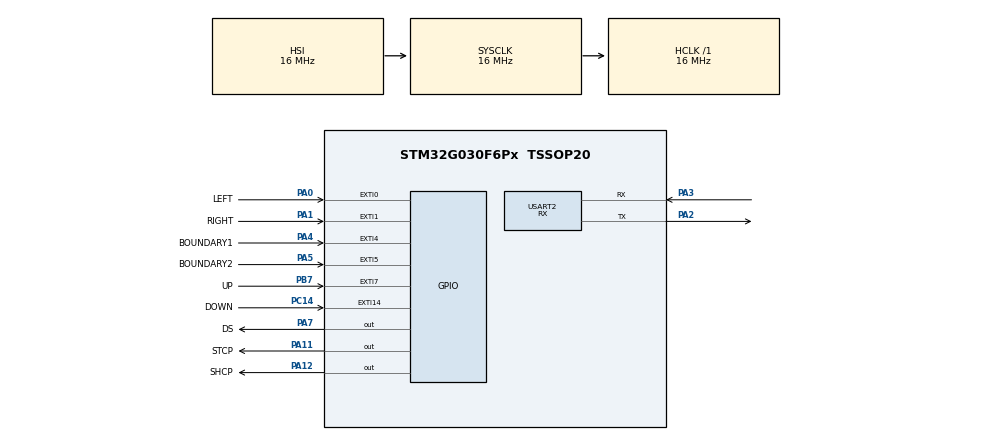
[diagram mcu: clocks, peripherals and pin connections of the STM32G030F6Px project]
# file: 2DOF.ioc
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Mcu.Family=STM32G0
Mcu.Name=STM32G030F6Px
Mcu.Package=TSSOP20
NVIC.USART2_IRQn=true\:0\:0\:false\:false\:true\:true\:true\:true
PA0.GPIO_Label=LEFT
PA0.GPIO_ModeDefaultEXTI=GPIO_MODE_IT_FALLING
PA0.GPIO_PuPd=GPIO_PULLUP
PA0.Signal=GPXTI0
PA1.GPIO_Label=RIGHT
PA1.GPIO_ModeDefaultEXTI=GPIO_MODE_IT_FALLING
PA1.GPIO_PuPd=GPIO_PULLUP
PA1.Signal=GPXTI1
PA11\ [PA9].GPIO_Label=STCP
PA11\ [PA9].Signal=GPIO_Output
PA12\ [PA10].GPIO_Label=SHCP
PA12\ [PA10].Signal=GPIO_Output
PA13.Mode=Serial_Wire
PA13.Signal=SYS_SWDIO
PA14-BOOT0.Mode=Serial_Wire
PA14-BOOT0.Signal=SYS_SWCLK
PA14-BOOT0__PA15.StandardMode=true
PA2.Mode=Asynchronous
PA2.Signal=USART2_TX
PA3.Mode=Asynchronous
PA3.Signal=USART2_RX
PA4.GPIO_Label=BOUNDARY1
PA4.GPIO_ModeDefaultEXTI=GPIO_MODE_IT_FALLING
PA4.GPIO_PuPd=GPIO_PULLUP
PA4.Signal=GPXTI4
PA5.GPIO_Label=BOUNDARY2
PA5.GPIO_ModeDefaultEXTI=GPIO_MODE_IT_FALLING
PA5.GPIO_PuPd=GPIO_PULLUP
PA5.Signal=GPXTI5
PA7.GPIO_Label=DS
PA7.Signal=GPIO_Output
PB0__PB1__PB2__PA8.StandardMode=true
PB3__PB4__PB5__PB6.StandardMode=true
PB7.GPIO_Label=UP
PB7.GPIO_ModeDefaultEXTI=GPIO_MODE_IT_FALLING
PB7.GPIO_PuPd=GPIO_PULLUP
PB7.Signal=GPXTI7
PB7__PB8.StandardMode=true
PC14-OSC32_IN\ (PC14).GPIO_Label=DOWN
PC14-OSC32_IN\ (PC14).GPIO_ModeDefaultEXTI=GPIO_MODE_IT_FALLING
PC14-OSC32_IN\ (PC14).GPIO_PuPd=GPIO_PULLUP
PC14-OSC32_IN\ (PC14).Signal=GPXTI14
PC14-OSC32_IN\ (PC14)__PB9.StandardMode=true
ProjectManager.HeapSize=0x200
ProjectManager.StackSize=0x400
ProjectManager.TargetToolchain=STM32CubeIDE
RCC.ADCFreq_Value=16000000
RCC.AHBFreq_Value=16000000
RCC.CortexFreq_Value=16000000
RCC.EXTERNAL_CLOCK_VALUE=12288000
RCC.HCLKFreq_Value=16000000
RCC.HSE_VALUE=8000000
RCC.HSI_VALUE=16000000
RCC.LSE_VALUE=32768
RCC.SYSCLKFreq_VALUE=16000000
RCC.VCOOutputFreq_Value=128000000
USART2.Mode=MODE_RX
USART2.VirtualMode-Asynchronous=VM_ASYNC
board=custom

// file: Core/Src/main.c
/* USER CODE BEGIN Header */
/**
  ******************************************************************************
  * @file           : main.c
  * @brief          : Main program body
  ******************************************************************************
  * @attention
  *
  * Copyright (c) 2024 STMicroelectronics.
  * All rights reserved.
  *
  * This software is licensed under terms that can be found in the LICENSE file
  * in the root directory of this software component.
  * If no LICENSE file comes with this software, it is provided AS-IS.
  *
  ******************************************************************************
  */
/* USER CODE END Header */
#include "main.h"

/* USER CODE BEGIN Includes */
#include "motor.h"
/* USER CODE END Includes */

UART_HandleTypeDef huart2;

/* USER CODE BEGIN PV */

uint8_t rx_buffer[16];

/* USER CODE END PV */

void SystemClock_Config(void);
static void MX_GPIO_Init(void);
static void MX_USART2_UART_Init(void);

int main(void)
{

  /* USER CODE BEGIN 1 */

	// initialize the axis to zero
	zero();

	// receiving 2 double value
  /* USER CODE END 1 */

  /* MCU Configuration--------------------------------------------------------*/

  /* Reset of all peripherals, Initializes the Flash interface and the Systick. */
  HAL_Init();

  /* Configure the system clock */
  SystemClock_Config();

  /* Initialize all configured peripherals */
  MX_GPIO_Init();
  MX_USART2_UART_Init();

  /* Infinite loop */
  while (1)
  {

  }
}

void SystemClock_Config(void)
{
  RCC_OscInitTypeDef RCC_OscInitStruct = {0};
  RCC_ClkInitTypeDef RCC_ClkInitStruct = {0};

  /** Configure the main internal regulator output voltage
  */
  HAL_PWREx_ControlVoltageScaling(PWR_REGULATOR_VOLTAGE_SCALE1);

  /** Initializes the RCC Oscillators according to the specified parameters
  * in the RCC_OscInitTypeDef structure.
  */
  RCC_OscInitStruct.OscillatorType = RCC_OSCILLATORTYPE_HSI;
  RCC_OscInitStruct.HSIState = RCC_HSI_ON;
  RCC_OscInitStruct.HSIDiv = RCC_HSI_DIV1;
  RCC_OscInitStruct.HSICalibrationValue = RCC_HSICALIBRATION_DEFAULT;
  RCC_OscInitStruct.PLL.PLLState = RCC_PLL_NONE;
  if (HAL_RCC_OscConfig(&RCC_OscInitStruct) != HAL_OK)
  {
    Error_Handler();
  }

  /** Initializes the CPU, AHB and APB buses clocks
  */
  RCC_ClkInitStruct.ClockType = RCC_CLOCKTYPE_HCLK|RCC_CLOCKTYPE_SYSCLK
                              |RCC_CLOCKTYPE_PCLK1;
  RCC_ClkInitStruct.SYSCLKSource = RCC_SYSCLKSOURCE_HSI;
  RCC_ClkInitStruct.AHBCLKDivider = RCC_SYSCLK_DIV1;
  RCC_ClkInitStruct.APB1CLKDivider = RCC_HCLK_DIV1;

  if (HAL_RCC_ClockConfig(&RCC_ClkInitStruct, FLASH_LATENCY_0) != HAL_OK)
  {
    Error_Handler();
  }
}

static void MX_USART2_UART_Init(void)
{

  huart2.Instance = USART2;
  huart2.Init.BaudRate = 115200;
  huart2.Init.WordLength = UART_WORDLENGTH_8B;
  huart2.Init.StopBits = UART_STOPBITS_1;
  huart2.Init.Parity = UART_PARITY_NONE;
  huart2.Init.Mode = UART_MODE_RX;
  huart2.Init.HwFlowCtl = UART_HWCONTROL_NONE;
  huart2.Init.OverSampling = UART_OVERSAMPLING_16;
  huart2.Init.OneBitSampling = UART_ONE_BIT_SAMPLE_DISABLE;
  huart2.Init.ClockPrescaler = UART_PRESCALER_DIV1;
  huart2.AdvancedInit.AdvFeatureInit = UART_ADVFEATURE_NO_INIT;
  if (HAL_UART_Init(&huart2) != HAL_OK)
  {
    Error_Handler();
  }

}

static void MX_GPIO_Init(void)
{
  GPIO_InitTypeDef GPIO_InitStruct = {0};

  /* GPIO Ports Clock Enable */
  __HAL_RCC_GPIOB_CLK_ENABLE();
  __HAL_RCC_GPIOC_CLK_ENABLE();
  __HAL_RCC_GPIOA_CLK_ENABLE();

  /*Configure GPIO pin Output Level */
  HAL_GPIO_WritePin(GPIOA, DS_Pin|STCP_Pin|SHCP_Pin, GPIO_PIN_RESET);

  /*Configure GPIO pin : UP_Pin */
  GPIO_InitStruct.Pin = UP_Pin;
  GPIO_InitStruct.Mode = GPIO_MODE_IT_FALLING;
  GPIO_InitStruct.Pull = GPIO_PULLUP;
  HAL_GPIO_Init(UP_GPIO_Port, &GPIO_InitStruct);

  /*Configure GPIO pin : DOWN_Pin */
  GPIO_InitStruct.Pin = DOWN_Pin;
  GPIO_InitStruct.Mode = GPIO_MODE_IT_FALLING;
  GPIO_InitStruct.Pull = GPIO_PULLUP;
  HAL_GPIO_Init(DOWN_GPIO_Port, &GPIO_InitStruct);

  /*Configure GPIO pins : LEFT_Pin RIGHT_Pin BOUNDARY1_Pin BOUNDARY2_Pin */
  GPIO_InitStruct.Pin = LEFT_Pin|RIGHT_Pin|BOUNDARY1_Pin|BOUNDARY2_Pin;
  GPIO_InitStruct.Mode = GPIO_MODE_IT_FALLING;
  GPIO_InitStruct.Pull = GPIO_PULLUP;
  HAL_GPIO_Init(GPIOA, &GPIO_InitStruct);

  /*Configure GPIO pins : DS_Pin STCP_Pin SHCP_Pin */
  GPIO_InitStruct.Pin = DS_Pin|STCP_Pin|SHCP_Pin;
  GPIO_InitStruct.Mode = GPIO_MODE_OUTPUT_PP;
  GPIO_InitStruct.Pull = GPIO_NOPULL;
  GPIO_InitStruct.Speed = GPIO_SPEED_FREQ_LOW;
  HAL_GPIO_Init(GPIOA, &GPIO_InitStruct);

}

/* USER CODE BEGIN 4 */

void EXTI4_15_IRQHandler() {
    if (__HAL_GPIO_EXTI_GET_IT(GPIO_PIN_4) != RESET) {

        // Set motor1 boundary flag
    	reset_boundary(0, 1);
    }

    if (__HAL_GPIO_EXTI_GET_IT(GPIO_PIN_5) != RESET) {
        // Set motor2 boundary flag
    	reset_boundary(1,0);
    }
}

// The following 4 EXTI will spin designated motor by 16 steps
void EXTI7_IRQHandler(void) {

    if (__HAL_GPIO_EXTI_GET_IT(GPIO_PIN_7) != RESET) {
    	rotate(16, 0);
        __HAL_GPIO_EXTI_CLEAR_IT(GPIO_PIN_7);
    }
}

void EXTI15_10_IRQHandler() {
    if (__HAL_GPIO_EXTI_GET_IT(GPIO_PIN_14) != RESET) {
    	// decrease y value
    	rotate(-16, 0);
    	__HAL_GPIO_EXTI_CLEAR_IT(GPIO_PIN_14);
    }
}

void EXTI1_IRQHandler() {

    if (__HAL_GPIO_EXTI_GET_IT(GPIO_PIN_1) != RESET) {
    	// decrease x value
    	rotate(0, 16);
        __HAL_GPIO_EXTI_CLEAR_IT(GPIO_PIN_1);
    }
}

void EXTI0_IRQHandler() {

    if (__HAL_GPIO_EXTI_GET_IT(GPIO_PIN_0) != RESET) {
    	rotate(0, -16);
        __HAL_GPIO_EXTI_CLEAR_IT(GPIO_PIN_0);
    }
}

// The UART is mainly for other board to transport x y data for the motor to execute
void HAL_UART_RxCpltCallback(UART_HandleTypeDef *huart)
{
    if (huart->Instance == USART2)
    {
        // Extract the received data from the buffer
        double temp_x = *((double*)&rx_buffer[0]);     // First 8 bytes
        double temp_y = *((double*)&rx_buffer[8]);     // Next 8 bytes
        uart_to_motor(temp_x, temp_y);

        // Re-enable UART interrupt
        HAL_UART_Receive_IT(&huart2, rx_buffer, 16);
    }
}

/* USER CODE END 4 */

void Error_Handler(void)
{
  __disable_irq();
  while (1)
  {
  }
}
